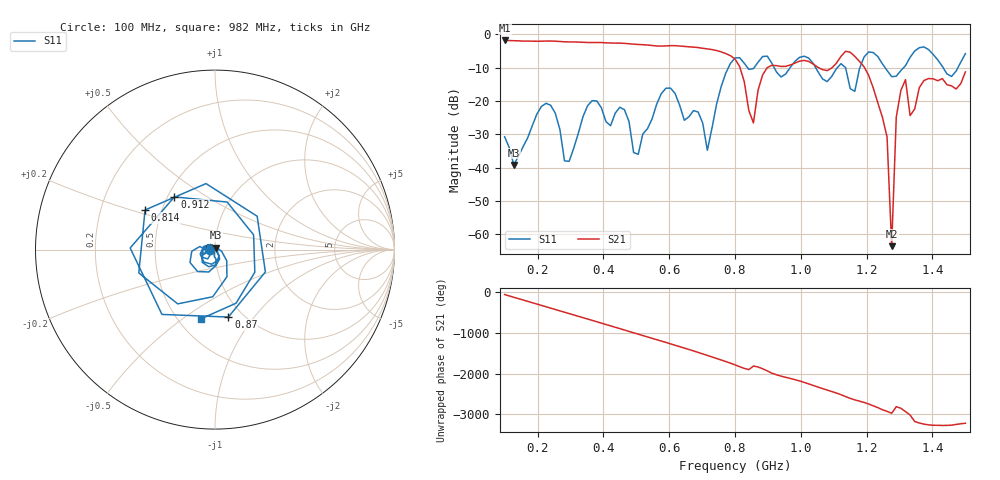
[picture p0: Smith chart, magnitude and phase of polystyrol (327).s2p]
! NanoVNA-App
! Date: 2025-09-25 15:32:26
! Start: 100MHz Stop: 1,5GHz Points: 101
! S-Parameter data: F S11 S21 S12 S22
# Hz S RI R 50
!  Frequency  S11_Real  S11_Imag  S21_Real  S21_Imag  S12_Real  S12_Imag  S22_Real  S22_Imag
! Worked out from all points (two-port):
!   101 points, 100 MHz to 1.5 GHz, reference 50 ohm
!   highest |S21| = -1.80 dB at 100 MHz (marker M1); lowest = -63.5 dB at 1.276 GHz (marker M2)
!   |S21| within 3 dB of the highest: start of sweep to 743 MHz
!   lowest |S11| = -39.1 dB at 128 MHz (marker M3), VSWR 1.02, Z = 50.3 + j1.06 ohm
!   |S11| at or under -10 dB: start of sweep to 779.8 MHz; 1.045 GHz to 1.111 GHz (65.2 MHz wide, 6.05 % of centre); 1.256 GHz to 1.312 GHz (55.57 MHz wide, 4.33 % of centre) (the widest 3 of 7)
!   S12 and S22 are empty: the file has one direction only
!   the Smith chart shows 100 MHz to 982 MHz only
!   S11 on the Smith chart (normalised r, x): 100 MHz: 0.94, -0.01; 814 MHz: 0.40, +0.22; 870 MHz: 0.85, -0.75; 912 MHz: 0.54, +0.37; 982 MHz: 0.64, -0.59
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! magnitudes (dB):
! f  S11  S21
! 100 MHz  -30.7  -1.8
! 128 MHz  -39.1  -1.9
! 212 MHz  -21.6  -2.0
! 282 MHz  -37.9  -2.2
! 338 MHz  -24.7  -2.3
! 506 MHz  -36.0  -3.0
! 576 MHz  -17.8  -3.5
! 716 MHz  -34.8  -4.3
! 800 MHz  -7.1  -7.4
! 814 MHz  -7.0  -9.6
! 856 MHz  -10.3  -26.5
! 870 MHz  -8.3  -16.7
! 912 MHz  -8.6  -9.3
! 982 MHz  -8.1  -8.6
! 1.038 GHz  -8.7  -8.9
! 1.164 GHz  -17.1  -6.6
! 1.206 GHz  -5.3  -12.3
! 1.262 GHz  -10.8  -30.8
! 1.276 GHz  -12.7  -63.5
! 1.29 GHz  -12.5  -24.8
! 1.304 GHz  -10.8  -16.8
! 1.5 GHz  -5.7  -11.2
